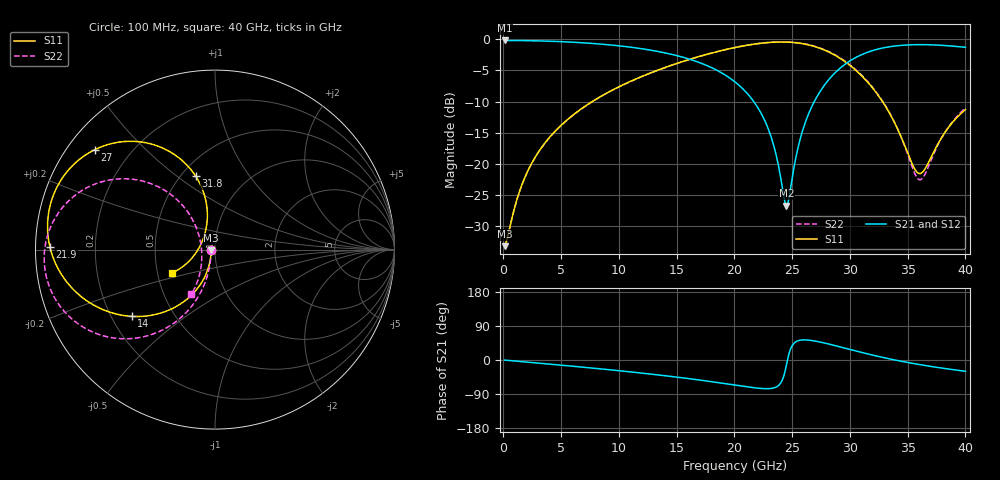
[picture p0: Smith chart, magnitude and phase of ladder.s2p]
! E_s8_L1L3_p1000_oval_g2: via ladder as kisi uses it (kisi_si::via_pbm, graded grid, junction model), differential mode (per line 50 ohm)
# Hz S RI R 50
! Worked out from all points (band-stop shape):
!   400 points, 100 MHz to 40 GHz, reference 50 ohm
!   highest |S21| = -0.19 dB at 100 MHz (marker M1); lowest = -26.7 dB at 24.5 GHz (marker M2)
!   |S21| within 3 dB of the highest: start of sweep to 16.11 GHz; 30.25 GHz to end of sweep
!   lowest |S11| = -33.2 dB at 100 MHz (marker M3), VSWR 1.04, Z = 47.9 - j0.376 ohm
!   |S11| at or under -10 dB: start of sweep to 7.672 GHz; 32.82 GHz to end of sweep
!   |S22| runs from -33.2 to -0.4 dB; largest |S21 - S12| = 0
!   S11 on the Smith chart (normalised r, x): 100 MHz: 0.96, -0.01; 14 GHz: 0.28, -0.33; 21.9 GHz: 0.04, +0.01; 27 GHz: 0.08, +0.36; 31.8 GHz: 0.59, +0.59; 40 GHz: 0.60, -0.17
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1e8  -0.0216 -0.00392  0.9784 -0.00459  0.9784 -0.00459  -0.0216 -0.00395
1.3e9  -0.0254 -0.0509  0.9752 -0.0596  0.9752 -0.0596  -0.0241 -0.0513
2.5e9  -0.0357 -0.0972  0.9665 -0.1143  0.9665 -0.1143  -0.031 -0.0984
4.3e9  -0.0635 -0.1643  0.9429 -0.1947  0.9429 -0.1947  -0.0498 -0.1683
6.8e9  -0.1265 -0.2492  0.8887 -0.3007  0.8887 -0.3007  -0.0935 -0.2623
1.34e10  -0.4274 -0.3729  0.6168 -0.5061  0.6168 -0.5061  -0.3256 -0.4628
1.4e10  -0.4634 -0.3721  0.5825 -0.5151  0.5825 -0.5151  -0.3564 -0.4741
1.72e10  -0.6698 -0.3125  0.3775 -0.515  0.3775 -0.515  -0.5485 -0.4944
2.01e10  -0.8472 -0.151  0.1809 -0.4133  0.1809 -0.4133  -0.7504 -0.422
2.19e10  -0.9192 0.0125  0.0821 -0.2837  0.0821 -0.2837  -0.8665 -0.3108
2.33e10  -0.9312 0.1691  0.0406 -0.1463  0.0406 -0.1463  -0.9309 -0.1831
2.45e10  -0.8967 0.3126  0.0451 -0.0108  0.0451 -0.0108  -0.9516 -0.0488
2.56e10  -0.8222 0.4367  0.0913 0.1151  0.0913 0.1151  -0.9313 0.0844
2.67e10  -0.7079 0.5359  0.18 0.2256  0.18 0.2256  -0.8673 0.2119
2.7e10  -0.671 0.5563  0.211 0.2507  0.211 0.2507  -0.8424 0.2433
2.93e10  -0.3581 0.5891  0.5027 0.3317  0.5027 0.3317  -0.5761 0.3898
3.18e10  -0.1084 0.4105  0.7783 0.1963  0.7783 0.1963  -0.2772 0.3283
3.34e10  -0.0476 0.2541  0.869 0.0476  0.869 0.0476  -0.1532 0.2117
3.55e10  -0.0612 0.0731  0.8924 -0.1464  0.8924 -0.1464  -0.0802 0.0387
3.61e10  -0.0779 0.0311  0.8844 -0.1958  0.8844 -0.1958  -0.0743 -0.00836
3.82e10  -0.1593 -0.0784  0.8239 -0.3398  0.8239 -0.3398  -0.0897 -0.153
4e10  -0.2401 -0.1299  0.7484 -0.4277  0.7484 -0.4277  -0.1316 -0.2492
